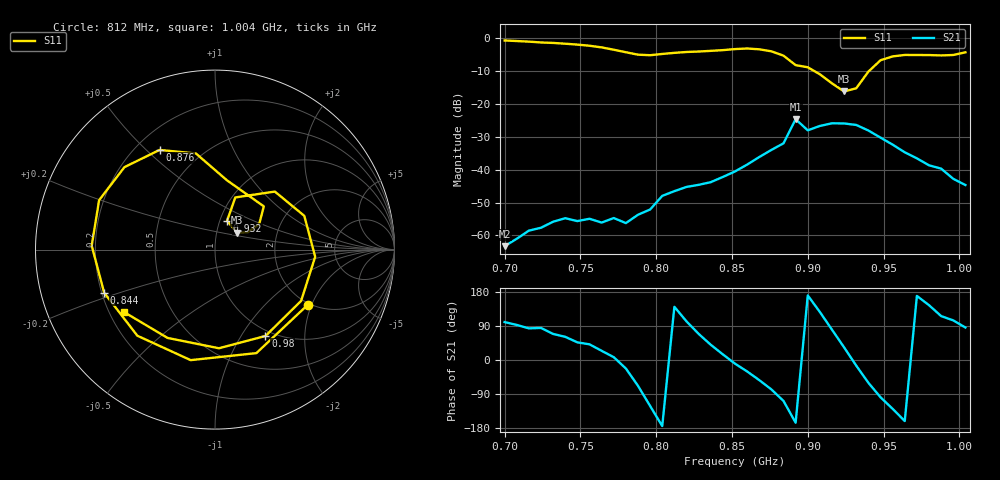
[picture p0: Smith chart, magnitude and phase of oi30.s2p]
# Hz S RI R 50
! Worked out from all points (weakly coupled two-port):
!   39 points, 700 MHz to 1.004 GHz, reference 50 ohm
!   highest |S21| = -24.61 dB at 892 MHz (marker M1); lowest = -63.3 dB at 700 MHz (marker M2)
!   lowest |S11| = -16.2 dB at 924 MHz (marker M3), VSWR 1.37, Z = 62.8 + j12.2 ohm
!   |S11| at or under -10 dB: 904.5 MHz to 940.3 MHz (35.77 MHz wide, 3.88 % of centre)
!   S12 and S22 are empty: the file has one direction only
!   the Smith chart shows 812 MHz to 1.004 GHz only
!   S11 on the Smith chart (normalised r, x): 812 MHz: 1.96, -1.88; 844 MHz: 0.21, -0.18; 876 MHz: 0.29, +0.55; 932 MHz: 1.08, +0.36; 980 MHz: 0.92, -1.29; 1.004 GHz: 0.26, -0.29
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7e8  0.766 0.5274  -0.00012 0.000676  0 0  0 0
7.24e8  0.8278 -0.2564  0.000123 0.0013  0 0  0 0
7.4e8  0.4454 -0.6997  0.000883 0.0016  0 0  0 0
7.56e8  -0.1964 -0.7472  0.00135 0.00119  0 0  0 0
7.72e8  -0.6469 -0.1829  0.00183 0.00024  0 0  0 0
7.8e8  -0.5703 0.2306  0.00143 -0.000588  0 0  0 0
7.88e8  -0.2149 0.5224  0.000769 -0.00192  0 0  0 0
7.96e8  0.261 0.4892  -0.00129 -0.00212  0 0  0 0
8.04e8  0.565 0.1285  -0.00399 -0.000397  0 0  0 0
8.12e8  0.5182 -0.3064  -0.00364 0.00301  0 0  0 0
8.28e8  -0.1355 -0.6159  0.00211 0.0055  0 0  0 0
8.44e8  -0.6176 -0.2401  0.00751 0.00199  0 0  0 0
8.52e8  -0.6869 0.0216  0.00929 -0.00158  0 0  0 0
8.76e8  -0.3088 0.5554  0.00429 -0.0196  0 0  0 0
8.92e8  0.0666 0.3861  -0.057 -0.0147  0 0  0 0
9.08e8  0.246 0.1418  -0.0277 0.0373  0 0  0 0
9.24e8  0.1235 0.0945  0.0424 0.0277  0 0  0 0
9.32e8  0.0672 0.1606  0.0465 -0.0124  0 0  0 0
9.48e8  0.3335 0.3233  -0.00448 -0.0305  0 0  0 0
9.56e8  0.4976 0.188  -0.0151 -0.0188  0 0  0 0
9.8e8  0.2812 -0.4812  -0.00953 0.00678  0 0  0 0
1.004e9  -0.505 -0.3489  0.000435 0.00584  0 0  0 0
